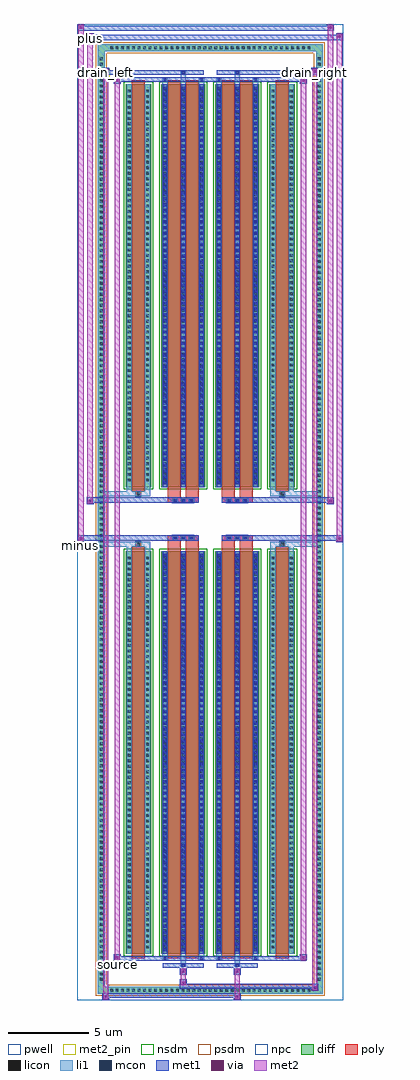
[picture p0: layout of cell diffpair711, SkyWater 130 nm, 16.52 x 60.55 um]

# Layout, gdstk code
import gdstk
lib = gdstk.Library(unit=1e-6, precision=5e-09)
def R(c, l, rs):  # rectangles x0, y0, x1, y1
    for r in rs: c.add(gdstk.rectangle(r[:2], r[2:], *l))
def A(c, l, x, y, w, h, nx, ny, dx, dy):  # array of equal rectangles
    R(c, l, [(x+i*dx, y+j*dy, x+i*dx+w, y+j*dy+h) for i in range(nx) for j in range(ny)])
def P(c, l, *ps):  # polygons
    for p in ps: c.add(gdstk.Polygon(p, *l))
pwell = (64, 44)
diff = (65, 20)
poly = (66, 20)
licon = (66, 44)
li1 = (67, 20)
mcon = (67, 44)
met1 = (68, 20)
via = (68, 44)
met2_pin = (69, 16)
met2 = (69, 20)
nsdm = (93, 44)
psdm = (94, 20)
npc = (95, 20)

diffpair711 = lib.new_cell('diffpair711')
R(diffpair711, pwell, [(-8.24,-29.84,8.24,30.71), (-5.56,-28.03,-0.01,-0.805), (0.01,-28.03,5.56,-0.805), (-5.56,0.805,-0.01,28.03), (0.01,0.805,5.56,28.03)])
A(diffpair711, diff, -6.325, -29.44, 0.41, 0.41, 37, 2, 0.34, 58.47)
A(diffpair711, diff, -6.97, -28.765, 0.41, 0.41, 1, 169, 0, 0.34)
A(diffpair711, diff, 6.56, -28.765, 0.41, 0.41, 1, 169, 0, 0.34)
R(diffpair711, diff, [(-6.325,-29.44,6.325,-29.03), (-6.97,-28.765,-6.56,28.765), (6.56,-28.765,6.97,28.765), (-5.25,-26.985,-3.67,-1.985), (-3.03,-26.985,-0.32,-1.985), (0.32,-26.985,3.03,-1.985), (3.67,-26.985,5.25,-1.985), (-5.25,1.985,-3.67,26.985), (-3.03,1.985,-0.32,26.985), (0.32,1.985,3.03,26.985), (3.67,1.985,5.25,26.985), (-6.325,29.03,6.325,29.44)])
P(diffpair711, diff, [(6.97,29.44),(-6.97,29.44),(-6.97,-29.03),(-6.56,-29.03),(-6.56,29.03),(6.56,29.03),(6.56,-29.03),(-6.56,-29.03),(-6.97,-29.03),(-6.97,-29.44),(6.97,-29.44)])
A(diffpair711, poly, -2.34, -1.335, 0.33, 0.33, 3, 2, 0.5, 2.34)
A(diffpair711, poly, 1.01, -1.335, 0.33, 0.33, 3, 2, 0.5, 2.34)
R(diffpair711, poly, [(-4.86,-27.235,-4.06,-1.735), (-2.64,-27.235,-1.84,-1.735), (-1.51,-27.235,-0.71,-1.735), (0.71,-27.235,1.51,-1.735), (1.84,-27.235,2.64,-1.735), (4.06,-27.235,4.86,-1.735), (-4.625,-1.735,-4.295,-1.405), (-4.625,-1.735,-4.295,-1.405), (-2.64,-1.735,-1.84,-1.335), (-1.51,-1.735,-0.71,-1.335), (0.71,-1.735,1.51,-1.335), (1.84,-1.735,2.64,-1.335), (4.295,-1.735,4.625,-1.405), (4.295,-1.735,4.625,-1.405), (-2.64,-1.335,-0.71,-1.005), (0.71,-1.335,2.64,-1.005), (-2.64,1.005,-0.71,1.335), (0.71,1.005,2.64,1.335), (-2.64,1.335,-1.84,1.735), (-1.51,1.335,-0.71,1.735), (0.71,1.335,1.51,1.735), (1.84,1.335,2.64,1.735), (-4.625,1.405,-4.295,1.735), (-4.625,1.405,-4.295,1.735), (4.295,1.405,4.625,1.735), (4.295,1.405,4.625,1.735), (-4.86,1.735,-4.06,27.235), (-2.64,1.735,-1.84,27.235), (-1.51,1.735,-0.71,27.235), (0.71,1.735,1.51,27.235), (1.84,1.735,2.64,27.235), (4.06,1.735,4.86,27.235)])
A(diffpair711, licon, -6.205, -29.32, 0.17, 0.17, 37, 2, 0.34, 58.47)
A(diffpair711, licon, -6.85, -28.645, 0.17, 0.17, 1, 169, 0, 0.34)
A(diffpair711, licon, 6.68, -28.645, 0.17, 0.17, 1, 169, 0, 0.34)
A(diffpair711, licon, -5.11, -26.64, 0.17, 0.17, 1, 72, 0, 0.34)
A(diffpair711, licon, -3.98, -26.64, 0.17, 0.17, 1, 72, 0, 0.34)
A(diffpair711, licon, -2.89, -26.64, 0.17, 0.17, 3, 72, 1.13, 0.34)
A(diffpair711, licon, 0.46, -26.64, 0.17, 0.17, 3, 72, 1.13, 0.34)
A(diffpair711, licon, 3.81, -26.64, 0.17, 0.17, 1, 72, 0, 0.34)
A(diffpair711, licon, 4.94, -26.64, 0.17, 0.17, 1, 72, 0, 0.34)
A(diffpair711, licon, -2.26, -1.255, 0.17, 0.17, 3, 2, 0.5, 2.34)
A(diffpair711, licon, 1.09, -1.255, 0.17, 0.17, 3, 2, 0.5, 2.34)
A(diffpair711, licon, -5.11, 2.33, 0.17, 0.17, 1, 72, 0, 0.34)
A(diffpair711, licon, -3.98, 2.33, 0.17, 0.17, 1, 72, 0, 0.34)
A(diffpair711, licon, -2.89, 2.33, 0.17, 0.17, 3, 72, 1.13, 0.34)
A(diffpair711, licon, 0.46, 2.33, 0.17, 0.17, 3, 72, 1.13, 0.34)
A(diffpair711, licon, 3.81, 2.33, 0.17, 0.17, 1, 72, 0, 0.34)
A(diffpair711, licon, 4.94, 2.33, 0.17, 0.17, 1, 72, 0, 0.34)
R(diffpair711, licon, [(-4.545,-1.655,-4.375,-1.485), (4.375,-1.655,4.545,-1.485), (-4.545,1.485,-4.375,1.655), (4.375,1.485,4.545,1.655)])
A(diffpair711, li1, -6.285, -29.4, 0.33, 0.33, 37, 2, 0.34, 58.47)
A(diffpair711, li1, -6.93, -28.725, 0.33, 0.33, 1, 169, 0, 0.34)
A(diffpair711, li1, 6.6, -28.725, 0.33, 0.33, 1, 169, 0, 0.34)
A(diffpair711, li1, -2.97, -26.985, 0.33, 25, 3, 2, 1.13, 28.97)
A(diffpair711, li1, 0.38, -26.985, 0.33, 25, 3, 2, 1.13, 28.97)
A(diffpair711, li1, -2.89, -26.81, 0.17, 0.17, 3, 69, 1.13, 0.36)
A(diffpair711, li1, -2.89, -26.81, 0.17, 24.65, 3, 2, 1.13, 28.97)
A(diffpair711, li1, 0.46, -26.81, 0.17, 0.17, 3, 69, 1.13, 0.36)
A(diffpair711, li1, 0.46, -26.81, 0.17, 24.65, 3, 2, 1.13, 28.97)
A(diffpair711, li1, -5.19, -26.72, 0.33, 0.33, 1, 72, 0, 0.34)
A(diffpair711, li1, -4.06, -26.72, 0.33, 0.33, 1, 72, 0, 0.34)
A(diffpair711, li1, -2.97, -26.72, 0.33, 0.33, 3, 72, 1.13, 0.34)
A(diffpair711, li1, 0.38, -26.72, 0.33, 0.33, 3, 72, 1.13, 0.34)
A(diffpair711, li1, 3.73, -26.72, 0.33, 0.33, 1, 72, 0, 0.34)
A(diffpair711, li1, 4.86, -26.72, 0.33, 0.33, 1, 72, 0, 0.34)
A(diffpair711, li1, -2.34, -1.335, 0.33, 0.33, 3, 2, 0.5, 2.34)
A(diffpair711, li1, 1.01, -1.335, 0.33, 0.33, 3, 2, 0.5, 2.34)
A(diffpair711, li1, -2.89, 2.16, 0.17, 0.17, 3, 69, 1.13, 0.36)
A(diffpair711, li1, 0.46, 2.16, 0.17, 0.17, 3, 69, 1.13, 0.36)
A(diffpair711, li1, -5.19, 2.25, 0.33, 0.33, 1, 72, 0, 0.34)
A(diffpair711, li1, -4.06, 2.25, 0.33, 0.33, 1, 72, 0, 0.34)
A(diffpair711, li1, -2.97, 2.25, 0.33, 0.33, 3, 72, 1.13, 0.34)
A(diffpair711, li1, 0.38, 2.25, 0.33, 0.33, 3, 72, 1.13, 0.34)
A(diffpair711, li1, 3.73, 2.25, 0.33, 0.33, 1, 72, 0, 0.34)
A(diffpair711, li1, 4.86, 2.25, 0.33, 0.33, 1, 72, 0, 0.34)
R(diffpair711, li1, [(-6.97,-29.44,-6.56,-29.03), (-6.97,-29.44,-6.56,-29.03), (-6.56,-29.44,6.56,-29.03), (6.56,-29.44,6.97,-29.03), (6.56,-29.44,6.97,-29.03), (-6.97,-29.03,-6.56,29.03), (6.56,-29.03,6.97,29.03), (-1.84,-27.79,-1.51,-26.985), (-1.76,-27.79,-1.59,-27.62), (1.51,-27.79,1.84,-26.985), (1.59,-27.79,1.76,-27.62), (-2.97,-27.36,-2.64,-26.985), (-2.89,-27.36,-2.72,-27.19), (-0.71,-27.36,-0.38,-26.985), (-0.63,-27.36,-0.46,-27.19), (0.38,-27.36,0.71,-26.985), (0.46,-27.36,0.63,-27.19), (2.64,-27.36,2.97,-26.985), (2.72,-27.36,2.89,-27.19), (-5.19,-26.985,-4.86,-1.985), (-4.06,-26.985,-3.73,-1.985), (3.73,-26.985,4.06,-1.985), (4.86,-26.985,5.19,-1.985), (-5.19,-1.985,-4.86,-1.405), (-4.06,-1.985,-3.73,-1.405), (3.73,-1.985,4.06,-1.405), (4.86,-1.985,5.19,-1.405), (-6.97,-1.735,-4.625,-1.405), (-5.19,-1.735,-4.625,-1.405), (-4.625,-1.735,-4.295,-1.405), (-4.295,-1.735,-3.73,-1.405), (3.73,-1.735,4.295,-1.405), (4.295,-1.735,4.625,-1.405), (4.295,-1.735,6.97,-1.405), (4.625,-1.735,5.19,-1.405), (-6.97,1.405,-4.625,1.735), (-5.19,1.405,-4.625,1.735), (-5.19,1.405,-4.86,1.985), (-4.625,1.405,-4.295,1.735), (-4.295,1.405,-3.73,1.735), (-4.06,1.405,-3.73,1.985), (3.73,1.405,4.295,1.735), (3.73,1.405,4.06,1.985), (4.295,1.405,4.625,1.735), (4.295,1.405,6.97,1.735), (4.625,1.405,5.19,1.735), (4.86,1.405,5.19,1.985), (-5.19,1.985,-4.86,26.985), (-4.06,1.985,-3.73,26.985), (3.73,1.985,4.06,26.985), (4.86,1.985,5.19,26.985), (-2.97,26.985,-2.64,27.36), (-1.84,26.985,-1.51,27.79), (-0.71,26.985,-0.38,27.36), (0.38,26.985,0.71,27.36), (1.51,26.985,1.84,27.79), (2.64,26.985,2.97,27.36), (-2.89,27.19,-2.72,27.36), (-0.63,27.19,-0.46,27.36), (0.46,27.19,0.63,27.36), (2.72,27.19,2.89,27.36), (-1.76,27.62,-1.59,27.79), (1.59,27.62,1.76,27.79), (-6.97,29.03,-6.56,29.44), (-6.97,29.03,-6.56,29.44), (-6.56,29.03,6.56,29.44), (6.56,29.03,6.97,29.44), (6.56,29.03,6.97,29.44)])
A(diffpair711, mcon, -2.89, -26.81, 0.17, 0.17, 3, 69, 1.13, 0.36)
A(diffpair711, mcon, 0.46, -26.81, 0.17, 0.17, 3, 69, 1.13, 0.36)
A(diffpair711, mcon, -2.26, -1.255, 0.17, 0.17, 3, 2, 0.5, 2.34)
A(diffpair711, mcon, 1.09, -1.255, 0.17, 0.17, 3, 2, 0.5, 2.34)
A(diffpair711, mcon, -2.89, 2.16, 0.17, 0.17, 3, 69, 1.13, 0.36)
A(diffpair711, mcon, 0.46, 2.16, 0.17, 0.17, 3, 69, 1.13, 0.36)
R(diffpair711, mcon, [(-1.76,-27.79,-1.59,-27.62), (1.59,-27.79,1.76,-27.62), (-2.89,-27.36,-2.72,-27.19), (-0.63,-27.36,-0.46,-27.19), (0.46,-27.36,0.63,-27.19), (2.72,-27.36,2.89,-27.19), (-2.89,27.19,-2.72,27.36), (-0.63,27.19,-0.46,27.36), (0.46,27.19,0.63,27.36), (2.72,27.19,2.89,27.36), (-1.76,27.62,-1.59,27.79), (1.59,27.62,1.76,27.79)])
A(diffpair711, met1, -2.95, -26.985, 0.29, 25, 3, 2, 1.13, 28.97)
A(diffpair711, met1, 0.4, -26.985, 0.29, 25, 3, 2, 1.13, 28.97)
A(diffpair711, met1, -2.95, -26.87, 0.29, 0.29, 3, 69, 1.13, 0.36)
A(diffpair711, met1, 0.4, -26.87, 0.29, 0.29, 3, 69, 1.13, 0.36)
A(diffpair711, met1, -2.32, -1.315, 0.29, 0.29, 3, 2, 0.5, 2.34)
A(diffpair711, met1, 1.03, -1.315, 0.29, 0.29, 3, 2, 0.5, 2.34)
A(diffpair711, met1, -2.95, 2.1, 0.29, 0.29, 3, 69, 1.13, 0.36)
A(diffpair711, met1, 0.4, 2.1, 0.29, 0.29, 3, 69, 1.13, 0.36)
R(diffpair711, met1, [(-6.7,-29.84,-6.27,-29.41), (1.46,-29.84,1.89,-29.41), (-6.7,-29.7,1.89,-29.41), (6.27,-29.27,6.7,-28.84), (-1.89,-29.13,6.7,-28.84), (-1.89,-28.99,-1.46,-28.56), (-1.89,-28.28,-1.46,-27.85), (1.46,-28.28,1.89,-27.85), (-2.95,-27.85,-0.4,-27.56), (-1.82,-27.85,-1.53,-27.56), (0.4,-27.85,2.95,-27.56), (1.53,-27.85,1.82,-27.56), (-5.99,-27.42,-5.56,-26.99), (-5.99,-27.42,-2.95,-27.13), (-2.95,-27.42,-2.66,-27.13), (-2.95,-27.42,-0.4,-27.13), (-0.69,-27.42,-0.4,-27.13), (-0.4,-27.42,0.4,-27.13), (0.4,-27.42,0.69,-27.13), (0.4,-27.42,2.95,-27.13), (2.66,-27.42,2.95,-27.13), (2.95,-27.42,5.99,-27.13), (5.56,-27.42,5.99,-26.99), (-8.24,-1.435,-7.81,-1.005), (7.81,-1.435,8.24,-1.005), (-8.24,-1.335,-0.71,-1.005), (-2.64,-1.335,-0.71,-1.005), (0.71,-1.335,2.64,-1.005), (0.71,-1.335,8.24,-1.005), (-7.67,0.905,-7.24,1.335), (7.24,0.905,7.67,1.335), (-7.67,1.005,-2.64,1.335), (-2.64,1.005,-0.71,1.335), (0.71,1.005,2.64,1.335), (2.64,1.005,7.67,1.335), (-5.99,26.99,-5.56,27.42), (5.56,26.99,5.99,27.42), (-5.99,27.13,-2.95,27.42), (-2.95,27.13,-2.66,27.42), (-2.95,27.13,-0.4,27.42), (-0.69,27.13,-0.4,27.42), (-0.4,27.13,0.4,27.42), (0.4,27.13,0.69,27.42), (0.4,27.13,2.95,27.42), (2.66,27.13,2.95,27.42), (2.95,27.13,5.99,27.42), (-6.7,27.56,-6.27,27.99), (-6.7,27.56,-2.95,27.85), (-2.95,27.56,-0.4,27.85), (-1.82,27.56,-1.53,27.85), (0.4,27.56,2.95,27.85), (1.53,27.56,1.82,27.85), (2.95,27.56,6.7,27.85), (6.27,27.56,6.7,27.99), (-7.67,29.71,-7.24,30.14), (-7.67,29.71,-5.56,30.04), (-5.56,29.71,5.56,30.04), (5.56,29.71,8.24,30.04), (7.81,29.71,8.24,30.14), (-8.24,30.28,-7.81,30.71), (-8.24,30.28,-5.56,30.61), (-5.56,30.28,5.56,30.61), (5.56,30.28,7.67,30.61), (7.24,30.28,7.67,30.71)])
R(diffpair711, via, [(-6.56,-29.7,-6.41,-29.55), (1.6,-29.7,1.75,-29.55), (6.41,-29.13,6.56,-28.98), (-1.75,-28.85,-1.6,-28.7), (-1.75,-28.14,-1.6,-27.99), (1.6,-28.14,1.75,-27.99), (-5.85,-27.28,-5.7,-27.13), (5.7,-27.28,5.85,-27.13), (-8.1,-1.295,-7.95,-1.145), (7.95,-1.295,8.1,-1.145), (-7.53,1.045,-7.38,1.195), (7.38,1.045,7.53,1.195), (-5.85,27.13,-5.7,27.28), (5.7,27.13,5.85,27.28), (-6.56,27.7,-6.41,27.85), (6.41,27.7,6.56,27.85), (-7.53,29.85,-7.38,30), (7.95,29.85,8.1,30), (-8.1,30.42,-7.95,30.57), (7.38,30.42,7.53,30.57)])
R(diffpair711, met2_pin, [(-6.025,-27.87,-5.525,-27.37), (-8.275,-1.885,-7.775,-1.385), (-6.735,27.44,-6.235,27.94), (6.235,27.44,6.735,27.94), (-7.705,29.59,-7.205,30.09)])
R(diffpair711, met2, [(-6.65,-29.79,-6.32,-29.46), (-6.65,-29.79,-6.32,27.94), (1.51,-29.79,1.84,-29.46), (1.51,-29.46,1.84,-28.23), (6.32,-29.22,6.65,-28.89), (6.32,-29.22,6.65,27.94), (-1.84,-28.94,-1.51,-28.61), (-1.84,-28.61,-1.51,-28.23), (-1.84,-28.23,-1.51,-27.9), (1.51,-28.23,1.84,-27.9), (-5.94,-27.37,-5.61,-27.04), (-5.94,-27.37,-5.61,27.37), (5.61,-27.37,5.94,-27.04), (5.61,-27.37,5.94,27.37), (-8.19,-1.385,-7.86,-1.055), (-8.19,-1.385,-7.86,30.66), (7.86,-1.385,8.19,-1.055), (7.86,-1.385,8.19,30.09), (-7.62,0.955,-7.29,1.285), (-7.62,0.955,-7.29,30.09), (7.29,0.955,7.62,1.285), (7.29,0.955,7.62,30.66), (-5.94,27.04,-5.61,27.37), (5.61,27.04,5.94,27.37), (-6.65,27.61,-6.32,27.94), (6.32,27.61,6.65,27.94), (-7.62,29.76,-7.29,30.09), (7.86,29.76,8.19,30.09), (-8.19,30.33,-7.86,30.66), (7.29,30.33,7.62,30.66)])
P(diffpair711, met2, [(8.19,-1.385),(8.19,-1.385),(8.19,-1.055),(8.19,-1.055)],
  [(8.19,29.76),(8.19,29.76),(8.19,30.09),(8.19,30.09)],
  [(-7.86,-1.385),(-7.86,-1.385),(-7.86,-1.055),(-7.86,-1.055)],
  [(-7.86,30.33),(-7.86,30.33),(-7.86,30.66),(-7.86,30.66)],
  [(7.62,0.955),(7.62,0.955),(7.62,1.285),(7.62,1.285)],
  [(7.62,30.33),(7.62,30.33),(7.62,30.66),(7.62,30.66)],
  [(-7.29,0.955),(-7.29,0.955),(-7.29,1.285),(-7.29,1.285)],
  [(-7.29,29.76),(-7.29,29.76),(-7.29,30.09),(-7.29,30.09)],
  [(-6.32,-29.79),(-6.32,-29.79),(-6.32,-29.46),(-6.32,-29.46)],
  [(-6.32,27.61),(-6.32,27.61),(-6.32,27.94),(-6.32,27.94)],
  [(6.65,-29.22),(6.65,-29.22),(6.65,-28.89),(6.65,-28.89)],
  [(6.65,27.61),(6.65,27.61),(6.65,27.94),(6.65,27.94)],
  [(-5.61,-27.37),(-5.61,-27.37),(-5.61,-27.04),(-5.61,-27.04)],
  [(-5.61,27.04),(-5.61,27.04),(-5.61,27.37),(-5.61,27.37)],
  [(5.94,-27.37),(5.94,-27.37),(5.94,-27.04),(5.94,-27.04)],
  [(5.94,27.04),(5.94,27.04),(5.94,27.37),(5.94,27.37)])
R(diffpair711, nsdm, [(-5.38,-27.115,-3.54,-1.855), (-3.16,-27.115,-0.19,-1.855), (0.19,-27.115,3.16,-1.855), (3.54,-27.115,5.38,-1.855), (-5.38,1.855,-3.54,27.115), (-3.16,1.855,-0.19,27.115), (0.19,1.855,3.16,27.115), (3.54,1.855,5.38,27.115)])
P(diffpair711, psdm, [(7.1,29.57),(-7.1,29.57),(-7.1,-28.9),(-6.43,-28.9),(-6.43,28.9),(6.43,28.9),(6.43,-28.9),(-6.43,-28.9),(-7.1,-28.9),(-7.1,-29.57),(7.1,-29.57)])
A(diffpair711, npc, -2.36, -1.355, 0.37, 0.37, 3, 2, 0.5, 2.34)
A(diffpair711, npc, 0.99, -1.355, 0.37, 0.37, 3, 2, 0.5, 2.34)
R(diffpair711, npc, [(-4.645,-1.755,-4.275,-1.385), (4.275,-1.755,4.645,-1.385), (-2.36,-1.355,-1.49,-0.985), (-2.36,-1.355,-1.49,-0.985), (-1.86,-1.355,-0.99,-0.985), (-1.86,-1.355,-0.99,-0.985), (0.99,-1.355,1.86,-0.985), (0.99,-1.355,1.86,-0.985), (1.49,-1.355,2.36,-0.985), (1.49,-1.355,2.36,-0.985), (-2.36,0.985,-1.49,1.355), (-2.36,0.985,-1.49,1.355), (-1.86,0.985,-0.99,1.355), (-1.86,0.985,-0.99,1.355), (0.99,0.985,1.86,1.355), (0.99,0.985,1.86,1.355), (1.49,0.985,2.36,1.355), (1.49,0.985,2.36,1.355), (-4.645,1.385,-4.275,1.755), (4.275,1.385,4.645,1.755)])
diffpair711.add(gdstk.Label('minus', (-8.025,-1.635), layer=69, texttype=5))
diffpair711.add(gdstk.Label('drain_right', (6.485,27.69), layer=69, texttype=5))
diffpair711.add(gdstk.Label('drain_left', (-6.485,27.69), layer=69, texttype=5))
diffpair711.add(gdstk.Label('source', (-5.775,-27.62), layer=69, texttype=5))
diffpair711.add(gdstk.Label('plus', (-7.455,29.84), layer=69, texttype=5))

lib.write_gds('diffpair711.gds')
